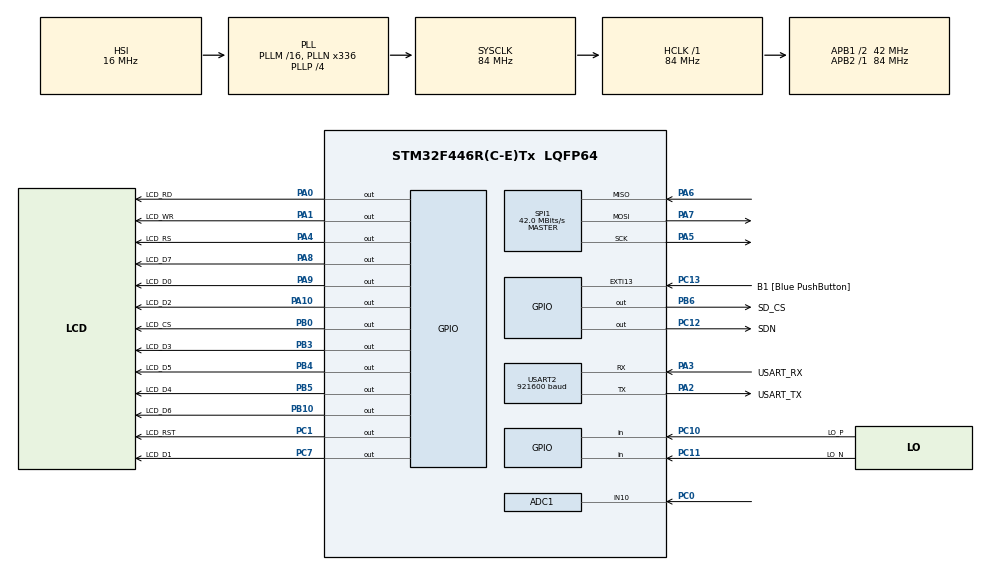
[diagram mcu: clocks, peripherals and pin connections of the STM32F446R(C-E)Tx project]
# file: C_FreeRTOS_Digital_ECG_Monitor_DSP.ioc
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ADC1.Channel-1\#ChannelRegularConversion=ADC_CHANNEL_10
ADC1.DMAContinuousRequests=ENABLE
ADC1.ExternalTrigConv=ADC_EXTERNALTRIGCONV_T3_TRGO
ADC1.NbrOfConversionFlag=1
ADC1.Rank-1\#ChannelRegularConversion=1
ADC1.SamplingTime-1\#ChannelRegularConversion=ADC_SAMPLETIME_480CYCLES
ADC1.master=1
Dma.ADC1.0.Direction=DMA_PERIPH_TO_MEMORY
Dma.ADC1.0.FIFOMode=DMA_FIFOMODE_DISABLE
Dma.ADC1.0.Instance=DMA2_Stream0
Dma.ADC1.0.MemDataAlignment=DMA_MDATAALIGN_HALFWORD
Dma.ADC1.0.MemInc=DMA_MINC_ENABLE
Dma.ADC1.0.Mode=DMA_CIRCULAR
Dma.ADC1.0.PeriphDataAlignment=DMA_PDATAALIGN_HALFWORD
Dma.ADC1.0.PeriphInc=DMA_PINC_DISABLE
Dma.ADC1.0.Priority=DMA_PRIORITY_LOW
Dma.Request0=ADC1
FREERTOS.Tasks01=defaultTask,24,1024,StartDefaultTask,Default,NULL,Dynamic,NULL,NULL
FREERTOS.configCHECK_FOR_STACK_OVERFLOW=2
FREERTOS.configTOTAL_HEAP_SIZE=32768
Mcu.Family=STM32F4
Mcu.Name=STM32F446R(C-E)Tx
Mcu.Package=LQFP64
NVIC.DMA2_Stream0_IRQn=true\:5\:0\:false\:false\:true\:true\:false\:true\:true
NVIC.PriorityGroup=NVIC_PRIORITYGROUP_4
NVIC.TIM4_IRQn=true\:15\:0\:false\:false\:true\:false\:false\:true\:true
NVIC.TimeBase=TIM4_IRQn
NVIC.TimeBaseIP=TIM4
PA0-WKUP.GPIO_Label=LCD_RD
PA0-WKUP.GPIO_Speed=GPIO_SPEED_FREQ_HIGH
PA0-WKUP.Signal=GPIO_Output
PA1.GPIO_Label=LCD_WR
PA1.GPIO_Speed=GPIO_SPEED_FREQ_HIGH
PA1.Signal=GPIO_Output
PA10.GPIO_Label=LCD_D2
PA10.GPIO_Speed=GPIO_SPEED_FREQ_HIGH
PA10.Signal=GPIO_Output
PA13.GPIO_Label=TMS
PA13.Mode=Serial_Wire
PA13.Signal=SYS_JTMS-SWDIO
PA14.GPIO_Label=TCK
PA14.Mode=Serial_Wire
PA14.Signal=SYS_JTCK-SWCLK
PA2.GPIO_Label=USART_TX
PA2.Mode=Asynchronous
PA2.Signal=USART2_TX
PA3.GPIO_Label=USART_RX
PA3.Mode=Asynchronous
PA3.Signal=USART2_RX
PA4.GPIO_Label=LCD_RS
PA4.GPIO_Speed=GPIO_SPEED_FREQ_HIGH
PA4.Signal=GPIO_Output
PA5.Mode=Full_Duplex_Master
PA5.Signal=SPI1_SCK
PA6.Mode=Full_Duplex_Master
PA6.Signal=SPI1_MISO
PA7.Mode=Full_Duplex_Master
PA7.Signal=SPI1_MOSI
PA8.GPIO_Label=LCD_D7
PA8.GPIO_Speed=GPIO_SPEED_FREQ_HIGH
PA8.Signal=GPIO_Output
PA9.GPIO_Label=LCD_D0
PA9.GPIO_Speed=GPIO_SPEED_FREQ_HIGH
PA9.Signal=GPIO_Output
PB0.GPIO_Label=LCD_CS
PB0.GPIO_Speed=GPIO_SPEED_FREQ_VERY_HIGH
PB0.Signal=GPIO_Output
PB10.GPIO_Label=LCD_D6
PB10.GPIO_Speed=GPIO_SPEED_FREQ_VERY_HIGH
PB10.Signal=GPIO_Output
PB3.GPIO_Label=LCD_D3
PB3.GPIO_Speed=GPIO_SPEED_FREQ_HIGH
PB3.Signal=GPIO_Output
PB4.GPIO_Label=LCD_D5
PB4.GPIO_Speed=GPIO_SPEED_FREQ_HIGH
PB4.Signal=GPIO_Output
PB5.GPIO_Label=LCD_D4
PB5.GPIO_Speed=GPIO_SPEED_FREQ_HIGH
PB5.Signal=GPIO_Output
PB6.GPIO_Label=SD_CS
PB6.GPIO_Speed=GPIO_SPEED_FREQ_VERY_HIGH
PB6.PinState=GPIO_PIN_SET
PB6.Signal=GPIO_Output
PC0.Signal=ADCx_IN10
PC1.GPIO_Label=LCD_RST
PC1.GPIO_Speed=GPIO_SPEED_FREQ_HIGH
PC1.Signal=GPIO_Output
PC10.GPIO_Label=LO_P
PC10.GPIO_PuPd=GPIO_PULLDOWN
PC10.Signal=GPIO_Input
PC11.GPIO_Label=LO_N
PC11.GPIO_PuPd=GPIO_PULLDOWN
PC11.Signal=GPIO_Input
PC12.GPIO_Label=SDN
PC12.PinState=GPIO_PIN_SET
PC12.Signal=GPIO_Output
PC13.GPIO_Label=B1 [Blue PushButton]
PC13.GPIO_ModeDefaultEXTI=GPIO_MODE_IT_FALLING
PC13.Signal=GPXTI13
PC14-OSC32_IN.Mode=LSE-External-Oscillator
PC14-OSC32_IN.Signal=RCC_OSC32_IN
PC15-OSC32_OUT.Mode=LSE-External-Oscillator
PC15-OSC32_OUT.Signal=RCC_OSC32_OUT
PC7.GPIO_Label=LCD_D1
PC7.GPIO_Speed=GPIO_SPEED_FREQ_VERY_HIGH
PC7.Signal=GPIO_Output
PH0-OSC_IN.Mode=HSE-External-Clock-Source
PH0-OSC_IN.Signal=RCC_OSC_IN
PH1-OSC_OUT.Mode=HSE-External-Clock-Source
PH1-OSC_OUT.Signal=RCC_OSC_OUT
ProjectManager.HeapSize=0x200
ProjectManager.StackSize=0x400
ProjectManager.TargetToolchain=STM32CubeIDE
RCC.48MHZClocksFreq_Value=84000000
RCC.AHBFreq_Value=84000000
RCC.APB1CLKDivider=RCC_HCLK_DIV2
RCC.APB1Freq_Value=42000000
RCC.APB1TimFreq_Value=84000000
RCC.APB2Freq_Value=84000000
RCC.APB2TimFreq_Value=84000000
RCC.CortexFreq_Value=84000000
RCC.FLatency-AdvancedSettings=FLASH_LATENCY_2
RCC.HCLKFreq_Value=84000000
RCC.HSE_VALUE=8000000
RCC.HSI_VALUE=16000000
RCC.PLLN=336
RCC.PLLP=RCC_PLLP_DIV4
RCC.SYSCLKFreq_VALUE=84000000
RCC.SYSCLKSource=RCC_SYSCLKSOURCE_PLLCLK
RCC.USBFreq_Value=168000000
RCC.VCOOutputFreq_Value=336000000
SH.ADCx_IN10.0=ADC1_IN10,IN10
SPI1.CalculateBaudRate=42.0 MBits/s
SPI1.Direction=SPI_DIRECTION_2LINES
SPI1.Mode=SPI_MODE_MASTER
SPI1.VirtualType=VM_MASTER
TIM3.Period=4
TIM3.Prescaler=8399
TIM3.TIM_MasterOutputTrigger=TIM_TRGO_UPDATE
USART2.BaudRate=921600
USART2.VirtualMode=VM_ASYNC
VP_FATFS_VS_Generic.Mode=User_defined
VP_FREERTOS_VS_CMSIS_V2.Mode=CMSIS_V2
VP_SYS_VS_tim4.Mode=TIM4
VP_TIM3_VS_ClockSourceINT.Mode=Internal
board=NUCLEO-F446RE

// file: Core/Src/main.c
/* USER CODE BEGIN Header */
/**
  ******************************************************************************
  * @file    main.c
  * @brief   Monitor de ECG digital - Tecnicas Digitales II, UTN FRBA.
  *
  * @details Placa NUCLEO-F446RE (Cortex-M4F a 84 MHz) + modulo AD8232 +
  *          shield TFT ILI9341 con lector microSD. Sistema operativo:
  *          FreeRTOS (a traves de CMSIS-RTOS v2).
  *
  *          Este archivo lo genera STM32CubeMX: aca solo se inicializan los
  *          perifericos y se crean las tareas. Toda la aplicacion esta en
  *          modulos separados (arquitectura E.P.A.):
  *          @verbatim
  *          ESCRUTAR  ad8232.c       TIM3 + ADC1 + DMA, electrodos, SDN
  *          PROCESAR  ecg_dsp.c      tarea DSP: decimacion y filtros
  *                    ecg_qrs.c      detector de QRS + calidad de senal
  *          ACTIVAR   ecg_display.c  tarea de pantalla (defaultTask)
  *                    ecg_logger.c   tarea de registro en microSD
  *          Drivers   ili9341.c, sd_spi.c, user_diskio.c (FatFs)
  *          Config.   ecg_config.h   parametros comunes
  *          @endverbatim
  *
  * @warning CubeMX borra todo lo que este FUERA de los bloques USER CODE al
  *          regenerar el codigo. No escribir codigo fuera de ellos.
  ******************************************************************************
  * @attention
  *
  * Copyright (c) 2026 STMicroelectronics.
  * All rights reserved.
  *
  * This software is licensed under terms that can be found in the LICENSE file
  * in the root directory of this software component.
  * If no LICENSE file comes with this software, it is provided AS-IS.
  *
  ******************************************************************************
  */
/* USER CODE END Header */
#include "main.h"
#include "cmsis_os.h"
#include "fatfs.h"

/* USER CODE BEGIN Includes */
#include "ecg_config.h"
#include "ad8232.h"
#include "ecg_dsp.h"
#include "ecg_display.h"
#include "ecg_logger.h"
/* USER CODE END Includes */

ADC_HandleTypeDef hadc1;
DMA_HandleTypeDef hdma_adc1;

SPI_HandleTypeDef hspi1;

TIM_HandleTypeDef htim3;

UART_HandleTypeDef huart2;

/* Definitions for defaultTask */
osThreadId_t defaultTaskHandle;
const osThreadAttr_t defaultTask_attributes = {
  .name = "defaultTask",
  .stack_size = 1024 * 4,
  .priority = (osPriority_t) osPriorityNormal,
};

void SystemClock_Config(void);
static void MX_GPIO_Init(void);
static void MX_DMA_Init(void);
static void MX_USART2_UART_Init(void);
static void MX_ADC1_Init(void);
static void MX_TIM3_Init(void);
static void MX_SPI1_Init(void);
void StartDefaultTask(void *argument);

int main(void)
{

  /* MCU Configuration--------------------------------------------------------*/

  /* Reset of all peripherals, Initializes the Flash interface and the Systick. */
  HAL_Init();

  /* Configure the system clock */
  SystemClock_Config();

  /* Initialize all configured peripherals */
  MX_GPIO_Init();
  MX_DMA_Init();
  MX_USART2_UART_Init();
  MX_ADC1_Init();
  MX_TIM3_Init();
  MX_SPI1_Init();
  MX_FATFS_Init();
  /* USER CODE BEGIN 2 */
  /* Antes de osKernelInitialize(): la pantalla usa HAL_Delay() y, una vez
     llamada cualquier funcion de FreeRTOS, las interrupciones quedan
     enmascaradas hasta que arranca el planificador. */
  AD8232_Init(&hadc1, &htim3);   /* front-end: guarda ADC/timer y enciende el AD8232 */
  ECG_Display_Init();            /* ILI9341 + parte fija del panel                   */
  /* USER CODE END 2 */

  /* Init scheduler */
  osKernelInitialize();

  /* USER CODE BEGIN RTOS_QUEUES */
  /* Colas de datos entre tareas (StreamBuffers). Se crean antes que las
     tareas que las usan. */
  ECG_Display_CreateQueue();     /* DSP -> pantalla: bloques con indice absoluto */
  ECG_Logger_CreateQueue();      /* DSP -> SD: bloques de muestras               */
  /* USER CODE END RTOS_QUEUES */

  /* Create the thread(s) */
  /* creation of defaultTask */
  defaultTaskHandle = osThreadNew(StartDefaultTask, NULL, &defaultTask_attributes);

  /* USER CODE BEGIN RTOS_THREADS */
  /* La tarea de pantalla es la defaultTask de arriba (prioridad 24).
     DSP (40) > pantalla (24) > registro SD (16): la adquisicion nunca espera
     a la pantalla ni a la tarjeta. */
  ECG_DSP_Start(&huart2);        /* tarea DSP; ECG por UART para el Serial Plotter */
  ECG_Logger_Start();            /* tarea de registro en microSD                  */
  /* USER CODE END RTOS_THREADS */

  /* Start scheduler */
  osKernelStart();

  /* We should never get here as control is now taken by the scheduler */

  /* Infinite loop */
  while (1)
  {

  }
}

void SystemClock_Config(void)
{
  RCC_OscInitTypeDef RCC_OscInitStruct = {0};
  RCC_ClkInitTypeDef RCC_ClkInitStruct = {0};

  /** Configure the main internal regulator output voltage
  */
  __HAL_RCC_PWR_CLK_ENABLE();
  __HAL_PWR_VOLTAGESCALING_CONFIG(PWR_REGULATOR_VOLTAGE_SCALE3);

  /** Initializes the RCC Oscillators according to the specified parameters
  * in the RCC_OscInitTypeDef structure.
  */
  RCC_OscInitStruct.OscillatorType = RCC_OSCILLATORTYPE_HSI;
  RCC_OscInitStruct.HSIState = RCC_HSI_ON;
  RCC_OscInitStruct.HSICalibrationValue = RCC_HSICALIBRATION_DEFAULT;
  RCC_OscInitStruct.PLL.PLLState = RCC_PLL_ON;
  RCC_OscInitStruct.PLL.PLLSource = RCC_PLLSOURCE_HSI;
  RCC_OscInitStruct.PLL.PLLM = 16;
  RCC_OscInitStruct.PLL.PLLN = 336;
  RCC_OscInitStruct.PLL.PLLP = RCC_PLLP_DIV4;
  RCC_OscInitStruct.PLL.PLLQ = 2;
  RCC_OscInitStruct.PLL.PLLR = 2;
  if (HAL_RCC_OscConfig(&RCC_OscInitStruct) != HAL_OK)
  {
    Error_Handler();
  }

  /** Initializes the CPU, AHB and APB buses clocks
  */
  RCC_ClkInitStruct.ClockType = RCC_CLOCKTYPE_HCLK|RCC_CLOCKTYPE_SYSCLK
                              |RCC_CLOCKTYPE_PCLK1|RCC_CLOCKTYPE_PCLK2;
  RCC_ClkInitStruct.SYSCLKSource = RCC_SYSCLKSOURCE_PLLCLK;
  RCC_ClkInitStruct.AHBCLKDivider = RCC_SYSCLK_DIV1;
  RCC_ClkInitStruct.APB1CLKDivider = RCC_HCLK_DIV2;
  RCC_ClkInitStruct.APB2CLKDivider = RCC_HCLK_DIV1;

  if (HAL_RCC_ClockConfig(&RCC_ClkInitStruct, FLASH_LATENCY_2) != HAL_OK)
  {
    Error_Handler();
  }
}

static void MX_ADC1_Init(void)
{

  ADC_ChannelConfTypeDef sConfig = {0};

  /** Configure the global features of the ADC (Clock, Resolution, Data Alignment and number of conversion)
  */
  hadc1.Instance = ADC1;
  hadc1.Init.ClockPrescaler = ADC_CLOCK_SYNC_PCLK_DIV4;
  hadc1.Init.Resolution = ADC_RESOLUTION_12B;
  hadc1.Init.ScanConvMode = DISABLE;
  hadc1.Init.ContinuousConvMode = DISABLE;
  hadc1.Init.DiscontinuousConvMode = DISABLE;
  hadc1.Init.ExternalTrigConvEdge = ADC_EXTERNALTRIGCONVEDGE_RISING;
  hadc1.Init.ExternalTrigConv = ADC_EXTERNALTRIGCONV_T3_TRGO;
  hadc1.Init.DataAlign = ADC_DATAALIGN_RIGHT;
  hadc1.Init.NbrOfConversion = 1;
  hadc1.Init.DMAContinuousRequests = ENABLE;
  hadc1.Init.EOCSelection = ADC_EOC_SINGLE_CONV;
  if (HAL_ADC_Init(&hadc1) != HAL_OK)
  {
    Error_Handler();
  }

  /** Configure for the selected ADC regular channel its corresponding rank in the sequencer and its sample time.
  */
  sConfig.Channel = ADC_CHANNEL_10;
  sConfig.Rank = 1;
  sConfig.SamplingTime = ADC_SAMPLETIME_480CYCLES;
  if (HAL_ADC_ConfigChannel(&hadc1, &sConfig) != HAL_OK)
  {
    Error_Handler();
  }

}

static void MX_SPI1_Init(void)
{

  /* SPI1 parameter configuration*/
  hspi1.Instance = SPI1;
  hspi1.Init.Mode = SPI_MODE_MASTER;
  hspi1.Init.Direction = SPI_DIRECTION_2LINES;
  hspi1.Init.DataSize = SPI_DATASIZE_8BIT;
  hspi1.Init.CLKPolarity = SPI_POLARITY_LOW;
  hspi1.Init.CLKPhase = SPI_PHASE_1EDGE;
  hspi1.Init.NSS = SPI_NSS_SOFT;
  hspi1.Init.BaudRatePrescaler = SPI_BAUDRATEPRESCALER_2;
  hspi1.Init.FirstBit = SPI_FIRSTBIT_MSB;
  hspi1.Init.TIMode = SPI_TIMODE_DISABLE;
  hspi1.Init.CRCCalculation = SPI_CRCCALCULATION_DISABLE;
  hspi1.Init.CRCPolynomial = 10;
  if (HAL_SPI_Init(&hspi1) != HAL_OK)
  {
    Error_Handler();
  }

}

static void MX_TIM3_Init(void)
{

  TIM_ClockConfigTypeDef sClockSourceConfig = {0};
  TIM_MasterConfigTypeDef sMasterConfig = {0};

  htim3.Instance = TIM3;
  htim3.Init.Prescaler = 8399;
  htim3.Init.CounterMode = TIM_COUNTERMODE_UP;
  htim3.Init.Period = 4;
  htim3.Init.ClockDivision = TIM_CLOCKDIVISION_DIV1;
  htim3.Init.AutoReloadPreload = TIM_AUTORELOAD_PRELOAD_DISABLE;
  if (HAL_TIM_Base_Init(&htim3) != HAL_OK)
  {
    Error_Handler();
  }
  sClockSourceConfig.ClockSource = TIM_CLOCKSOURCE_INTERNAL;
  if (HAL_TIM_ConfigClockSource(&htim3, &sClockSourceConfig) != HAL_OK)
  {
    Error_Handler();
  }
  sMasterConfig.MasterOutputTrigger = TIM_TRGO_UPDATE;
  sMasterConfig.MasterSlaveMode = TIM_MASTERSLAVEMODE_DISABLE;
  if (HAL_TIMEx_MasterConfigSynchronization(&htim3, &sMasterConfig) != HAL_OK)
  {
    Error_Handler();
  }

}

static void MX_USART2_UART_Init(void)
{

  huart2.Instance = USART2;
  huart2.Init.BaudRate = 921600;
  huart2.Init.WordLength = UART_WORDLENGTH_8B;
  huart2.Init.StopBits = UART_STOPBITS_1;
  huart2.Init.Parity = UART_PARITY_NONE;
  huart2.Init.Mode = UART_MODE_TX_RX;
  huart2.Init.HwFlowCtl = UART_HWCONTROL_NONE;
  huart2.Init.OverSampling = UART_OVERSAMPLING_16;
  if (HAL_UART_Init(&huart2) != HAL_OK)
  {
    Error_Handler();
  }

}

static void MX_DMA_Init(void)
{

  /* DMA controller clock enable */
  __HAL_RCC_DMA2_CLK_ENABLE();

  /* DMA interrupt init */
  /* DMA2_Stream0_IRQn interrupt configuration */
  HAL_NVIC_SetPriority(DMA2_Stream0_IRQn, 5, 0);
  HAL_NVIC_EnableIRQ(DMA2_Stream0_IRQn);

}

static void MX_GPIO_Init(void)
{
  GPIO_InitTypeDef GPIO_InitStruct = {0};

  /* GPIO Ports Clock Enable */
  __HAL_RCC_GPIOC_CLK_ENABLE();
  __HAL_RCC_GPIOH_CLK_ENABLE();
  __HAL_RCC_GPIOA_CLK_ENABLE();
  __HAL_RCC_GPIOB_CLK_ENABLE();

  /*Configure GPIO pin Output Level */
  HAL_GPIO_WritePin(GPIOC, LCD_RST_Pin|LCD_D1_Pin, GPIO_PIN_RESET);

  /*Configure GPIO pin Output Level */
  HAL_GPIO_WritePin(GPIOA, LCD_RD_Pin|LCD_WR_Pin|LCD_RS_Pin|LCD_D7_Pin
                          |LCD_D0_Pin|LCD_D2_Pin, GPIO_PIN_RESET);

  /*Configure GPIO pin Output Level */
  HAL_GPIO_WritePin(GPIOB, LCD_CS_Pin|LCD_D6_Pin|LCD_D3_Pin|LCD_D5_Pin
                          |LCD_D4_Pin, GPIO_PIN_RESET);

  /*Configure GPIO pin Output Level */
  HAL_GPIO_WritePin(SDN_GPIO_Port, SDN_Pin, GPIO_PIN_SET);

  /*Configure GPIO pin Output Level */
  HAL_GPIO_WritePin(SD_CS_GPIO_Port, SD_CS_Pin, GPIO_PIN_SET);

  /*Configure GPIO pin : B1_Pin */
  GPIO_InitStruct.Pin = B1_Pin;
  GPIO_InitStruct.Mode = GPIO_MODE_IT_FALLING;
  GPIO_InitStruct.Pull = GPIO_NOPULL;
  HAL_GPIO_Init(B1_GPIO_Port, &GPIO_InitStruct);

  /*Configure GPIO pin : LCD_RST_Pin */
  GPIO_InitStruct.Pin = LCD_RST_Pin;
  GPIO_InitStruct.Mode = GPIO_MODE_OUTPUT_PP;
  GPIO_InitStruct.Pull = GPIO_NOPULL;
  GPIO_InitStruct.Speed = GPIO_SPEED_FREQ_HIGH;
  HAL_GPIO_Init(LCD_RST_GPIO_Port, &GPIO_InitStruct);

  /*Configure GPIO pins : LCD_RD_Pin LCD_WR_Pin LCD_RS_Pin LCD_D7_Pin
                           LCD_D0_Pin LCD_D2_Pin */
  GPIO_InitStruct.Pin = LCD_RD_Pin|LCD_WR_Pin|LCD_RS_Pin|LCD_D7_Pin
                          |LCD_D0_Pin|LCD_D2_Pin;
  GPIO_InitStruct.Mode = GPIO_MODE_OUTPUT_PP;
  GPIO_InitStruct.Pull = GPIO_NOPULL;
  GPIO_InitStruct.Speed = GPIO_SPEED_FREQ_HIGH;
  HAL_GPIO_Init(GPIOA, &GPIO_InitStruct);

  /*Configure GPIO pins : LCD_CS_Pin LCD_D6_Pin SD_CS_Pin */
  GPIO_InitStruct.Pin = LCD_CS_Pin|LCD_D6_Pin|SD_CS_Pin;
  GPIO_InitStruct.Mode = GPIO_MODE_OUTPUT_PP;
  GPIO_InitStruct.Pull = GPIO_NOPULL;
  GPIO_InitStruct.Speed = GPIO_SPEED_FREQ_VERY_HIGH;
  HAL_GPIO_Init(GPIOB, &GPIO_InitStruct);

  /*Configure GPIO pin : LCD_D1_Pin */
  GPIO_InitStruct.Pin = LCD_D1_Pin;
  GPIO_InitStruct.Mode = GPIO_MODE_OUTPUT_PP;
  GPIO_InitStruct.Pull = GPIO_NOPULL;
  GPIO_InitStruct.Speed = GPIO_SPEED_FREQ_VERY_HIGH;
  HAL_GPIO_Init(LCD_D1_GPIO_Port, &GPIO_InitStruct);

  /*Configure GPIO pins : LO_P_Pin LO_N_Pin */
  GPIO_InitStruct.Pin = LO_P_Pin|LO_N_Pin;
  GPIO_InitStruct.Mode = GPIO_MODE_INPUT;
  GPIO_InitStruct.Pull = GPIO_PULLDOWN;
  HAL_GPIO_Init(GPIOC, &GPIO_InitStruct);

  /*Configure GPIO pin : SDN_Pin */
  GPIO_InitStruct.Pin = SDN_Pin;
  GPIO_InitStruct.Mode = GPIO_MODE_OUTPUT_PP;
  GPIO_InitStruct.Pull = GPIO_NOPULL;
  GPIO_InitStruct.Speed = GPIO_SPEED_FREQ_LOW;
  HAL_GPIO_Init(SDN_GPIO_Port, &GPIO_InitStruct);

  /*Configure GPIO pins : LCD_D3_Pin LCD_D5_Pin LCD_D4_Pin */
  GPIO_InitStruct.Pin = LCD_D3_Pin|LCD_D5_Pin|LCD_D4_Pin;
  GPIO_InitStruct.Mode = GPIO_MODE_OUTPUT_PP;
  GPIO_InitStruct.Pull = GPIO_NOPULL;
  GPIO_InitStruct.Speed = GPIO_SPEED_FREQ_HIGH;
  HAL_GPIO_Init(GPIOB, &GPIO_InitStruct);

  /* USER CODE BEGIN MX_GPIO_Init_2 */
  /* Bus 8080 en reposo. CubeMX deja RD y CS en bajo, y RD bajo pone al
     panel a manejar el bus contra las salidas del micro. */
  HAL_GPIO_WritePin(GPIOA, LCD_RD_Pin | LCD_WR_Pin, GPIO_PIN_SET);
  HAL_GPIO_WritePin(LCD_CS_GPIO_Port, LCD_CS_Pin, GPIO_PIN_SET);

  /* USER CODE END MX_GPIO_Init_2 */
}

void StartDefaultTask(void *argument)
{
  /* USER CODE BEGIN 5 */
  /* Tarea de pantalla: ver ecg_display.c. No retorna. */
  ECG_Display_Task(argument);
  /* USER CODE END 5 */
}

void HAL_TIM_PeriodElapsedCallback(TIM_HandleTypeDef *htim)
{
  if (htim->Instance == TIM4)
  {
    HAL_IncTick();
  }
}

void Error_Handler(void)
{
  __disable_irq();
  while (1)
  {
  }
}

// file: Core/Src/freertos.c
/* USER CODE BEGIN Header */
/**
  ******************************************************************************
  * File Name          : freertos.c
  * Description        : Code for freertos applications
  ******************************************************************************
  * @attention
  *
  * Copyright (c) 2026 STMicroelectronics.
  * All rights reserved.
  *
  * This software is licensed under terms that can be found in the LICENSE file
  * in the root directory of this software component.
  * If no LICENSE file comes with this software, it is provided AS-IS.
  *
  ******************************************************************************
  */
/* USER CODE END Header */

#include "FreeRTOS.h"
#include "task.h"
#include "main.h"

/* Hook prototypes */
void vApplicationStackOverflowHook(xTaskHandle xTask, signed char *pcTaskName);

/* USER CODE BEGIN 4 */
void vApplicationStackOverflowHook(xTaskHandle xTask, signed char *pcTaskName)
{
/* Poner un breakpoint aca: pcTaskName trae el nombre de la tarea culpable.
	 Se frena en seco en vez de seguir corriendo con memoria corrupta. */
  (void)xTask;
  (void)pcTaskName;
  taskDISABLE_INTERRUPTS();
  for (;;) { }
}
/* USER CODE END 4 */
